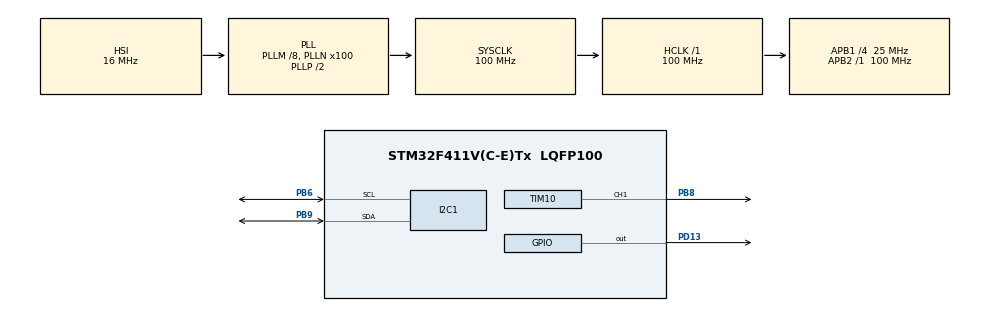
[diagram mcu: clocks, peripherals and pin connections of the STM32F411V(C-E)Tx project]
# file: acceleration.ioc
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I2C1.I2C_Mode=I2C_Fast
Mcu.Family=STM32F4
Mcu.Name=STM32F411V(C-E)Tx
Mcu.Package=LQFP100
NVIC.PriorityGroup=NVIC_PRIORITYGROUP_4
NVIC.TIM1_UP_TIM10_IRQn=true\:0\:0\:false\:false\:true
PB6.Mode=I2C
PB6.Signal=I2C1_SCL
PB8.Signal=S_TIM10_CH1
PB9.Mode=I2C
PB9.Signal=I2C1_SDA
PD13.Signal=GPIO_Output
ProjectManager.HeapSize=0x200
ProjectManager.StackSize=0x400
ProjectManager.TargetToolchain=SW4STM32
RCC.48MHZClocksFreq_Value=50000000
RCC.AHBFreq_Value=100000000
RCC.APB1CLKDivider=RCC_HCLK_DIV4
RCC.APB1Freq_Value=25000000
RCC.APB1TimFreq_Value=50000000
RCC.APB2Freq_Value=100000000
RCC.APB2TimFreq_Value=100000000
RCC.CortexFreq_Value=100000000
RCC.HCLKFreq_Value=100000000
RCC.HSE_VALUE=25000000
RCC.HSI_VALUE=16000000
RCC.LSE_VALUE=32768
RCC.PLLM=8
RCC.PLLN=100
RCC.SYSCLKFreq_VALUE=100000000
RCC.SYSCLKSource=RCC_SYSCLKSOURCE_PLLCLK
RCC.VCOOutputFreq_Value=200000000
SH.S_TIM10_CH1.0=TIM10_CH1,Output Compare1 CH1
TIM10.Period=1000
TIM10.Prescaler=12500
VP_TIM10_VS_ClockSourceINT.Mode=Enable_Timer
board=acceleration

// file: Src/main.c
/**
  ******************************************************************************
  * File Name          : main.c
  * Description        : Main program body
  ******************************************************************************
  *
  * COPYRIGHT(c) 2016 STMicroelectronics
  *
  * Redistribution and use in source and binary forms, with or without modification,
  * are permitted provided that the following conditions are met:
  *   1. Redistributions of source code must retain the above copyright notice,
  *      this list of conditions and the following disclaimer.
  *   2. Redistributions in binary form must reproduce the above copyright notice,
  *      this list of conditions and the following disclaimer in the documentation
  *      and/or other materials provided with the distribution.
  *   3. Neither the name of STMicroelectronics nor the names of its contributors
  *      may be used to endorse or promote products derived from this software
  *      without specific prior written permission.
  *
  * THIS SOFTWARE IS PROVIDED BY THE COPYRIGHT HOLDERS AND CONTRIBUTORS "AS IS"
  * AND ANY EXPRESS OR IMPLIED WARRANTIES, INCLUDING, BUT NOT LIMITED TO, THE
  * IMPLIED WARRANTIES OF MERCHANTABILITY AND FITNESS FOR A PARTICULAR PURPOSE ARE
  * DISCLAIMED. IN NO EVENT SHALL THE COPYRIGHT HOLDER OR CONTRIBUTORS BE LIABLE
  * FOR ANY DIRECT, INDIRECT, INCIDENTAL, SPECIAL, EXEMPLARY, OR CONSEQUENTIAL
  * DAMAGES (INCLUDING, BUT NOT LIMITED TO, PROCUREMENT OF SUBSTITUTE GOODS OR
  * SERVICES; LOSS OF USE, DATA, OR PROFITS; OR BUSINESS INTERRUPTION) HOWEVER
  * CAUSED AND ON ANY THEORY OF LIABILITY, WHETHER IN CONTRACT, STRICT LIABILITY,
  * OR TORT (INCLUDING NEGLIGENCE OR OTHERWISE) ARISING IN ANY WAY OUT OF THE USE
  * OF THIS SOFTWARE, EVEN IF ADVISED OF THE POSSIBILITY OF SUCH DAMAGE.
  *
  ******************************************************************************
  */
#include "main.h"
#include "stm32f4xx_hal.h"

I2C_HandleTypeDef hi2c1;

TIM_HandleTypeDef htim10;

/* USER CODE BEGIN PV */
/* Private variables ---------------------------------------------------------*/
uint16_t acc_dev_addr = 0x19<<1;
uint16_t acc_mem = 0x20;
uint8_t acc_write_message = 0x57;
uint16_t acc_out_x=0x29, acc_out_y=0x2b, acc_out_z=0x2d;

#define res_no 12
static int res_cnt=0;
float res_values[res_no][3];

/* USER CODE END PV */

void SystemClock_Config(void);
void Error_Handler(void);
static void MX_GPIO_Init(void);
static void MX_I2C1_Init(void);
static void MX_TIM10_Init(void);

void HAL_TIM_MspPostInit(TIM_HandleTypeDef *htim);

/* USER CODE BEGIN PFP */
/* Private function prototypes -----------------------------------------------*/
void HAL_TIM_PeriodElapsedCallback(TIM_HandleTypeDef *htim){
	if(res_cnt < res_no){
		HAL_GPIO_TogglePin(GPIOD,GPIO_PIN_13);
		uint8_t buf[2];
		HAL_I2C_Mem_Read(&hi2c1, acc_dev_addr, acc_out_x,1,&buf,2,100);
		res_values[res_cnt][0]=(float)((buf[0]<<8)|buf[1])/16384;
		HAL_I2C_Mem_Read(&hi2c1, acc_dev_addr, acc_out_y,1,&buf,2,100);
		res_values[res_cnt][1]=(float)((buf[0]<<8)|buf[1])/16384;
		HAL_I2C_Mem_Read(&hi2c1, acc_dev_addr, acc_out_z,1,&buf,2,100);
		res_values[res_cnt][2]=(float)((buf[0]<<8)|buf[1])/16384;
		res_cnt++;
		HAL_GPIO_TogglePin(GPIOD,GPIO_PIN_13);
	}
}
/* USER CODE END PFP */

int main(void)
{

  /* MCU Configuration----------------------------------------------------------*/

  /* Reset of all peripherals, Initializes the Flash interface and the Systick. */
  HAL_Init();

  /* Configure the system clock */
  SystemClock_Config();

  /* Initialize all configured peripherals */
  MX_GPIO_Init();
  MX_I2C1_Init();
  MX_TIM10_Init();

  /* USER CODE BEGIN 2 */
  HAL_I2C_Init(&hi2c1);
  HAL_I2C_Mem_Write(&hi2c1,acc_dev_addr,acc_mem, 1,&acc_write_message,1,100);
  HAL_TIM_Base_Start_IT(&htim10);
  /* USER CODE END 2 */

  /* Infinite loop */
  while (1)
  {

  }

}

/** System Clock Configuration
*/
void SystemClock_Config(void)
{

  RCC_OscInitTypeDef RCC_OscInitStruct;
  RCC_ClkInitTypeDef RCC_ClkInitStruct;

    /**Configure the main internal regulator output voltage
    */
  __HAL_RCC_PWR_CLK_ENABLE();

  __HAL_PWR_VOLTAGESCALING_CONFIG(PWR_REGULATOR_VOLTAGE_SCALE1);

    /**Initializes the CPU, AHB and APB busses clocks
    */
  RCC_OscInitStruct.OscillatorType = RCC_OSCILLATORTYPE_HSI;
  RCC_OscInitStruct.HSIState = RCC_HSI_ON;
  RCC_OscInitStruct.HSICalibrationValue = 16;
  RCC_OscInitStruct.PLL.PLLState = RCC_PLL_ON;
  RCC_OscInitStruct.PLL.PLLSource = RCC_PLLSOURCE_HSI;
  RCC_OscInitStruct.PLL.PLLM = 8;
  RCC_OscInitStruct.PLL.PLLN = 100;
  RCC_OscInitStruct.PLL.PLLP = RCC_PLLP_DIV2;
  RCC_OscInitStruct.PLL.PLLQ = 4;
  if (HAL_RCC_OscConfig(&RCC_OscInitStruct) != HAL_OK)
  {
    Error_Handler();
  }

    /**Initializes the CPU, AHB and APB busses clocks
    */
  RCC_ClkInitStruct.ClockType = RCC_CLOCKTYPE_HCLK|RCC_CLOCKTYPE_SYSCLK
                              |RCC_CLOCKTYPE_PCLK1|RCC_CLOCKTYPE_PCLK2;
  RCC_ClkInitStruct.SYSCLKSource = RCC_SYSCLKSOURCE_PLLCLK;
  RCC_ClkInitStruct.AHBCLKDivider = RCC_SYSCLK_DIV1;
  RCC_ClkInitStruct.APB1CLKDivider = RCC_HCLK_DIV4;
  RCC_ClkInitStruct.APB2CLKDivider = RCC_HCLK_DIV1;

  if (HAL_RCC_ClockConfig(&RCC_ClkInitStruct, FLASH_LATENCY_3) != HAL_OK)
  {
    Error_Handler();
  }

    /**Configure the Systick interrupt time
    */
  HAL_SYSTICK_Config(HAL_RCC_GetHCLKFreq()/1000);

    /**Configure the Systick
    */
  HAL_SYSTICK_CLKSourceConfig(SYSTICK_CLKSOURCE_HCLK);

  /* SysTick_IRQn interrupt configuration */
  HAL_NVIC_SetPriority(SysTick_IRQn, 0, 0);
}

/* I2C1 init function */
static void MX_I2C1_Init(void)
{

  hi2c1.Instance = I2C1;
  hi2c1.Init.ClockSpeed = 400000;
  hi2c1.Init.DutyCycle = I2C_DUTYCYCLE_2;
  hi2c1.Init.OwnAddress1 = 0;
  hi2c1.Init.AddressingMode = I2C_ADDRESSINGMODE_7BIT;
  hi2c1.Init.DualAddressMode = I2C_DUALADDRESS_DISABLE;
  hi2c1.Init.OwnAddress2 = 0;
  hi2c1.Init.GeneralCallMode = I2C_GENERALCALL_DISABLE;
  hi2c1.Init.NoStretchMode = I2C_NOSTRETCH_DISABLE;
  if (HAL_I2C_Init(&hi2c1) != HAL_OK)
  {
    Error_Handler();
  }

}

/* TIM10 init function */
static void MX_TIM10_Init(void)
{

  TIM_OC_InitTypeDef sConfigOC;

  htim10.Instance = TIM10;
  htim10.Init.Prescaler = 12500;
  htim10.Init.CounterMode = TIM_COUNTERMODE_UP;
  htim10.Init.Period = 1000;
  htim10.Init.ClockDivision = TIM_CLOCKDIVISION_DIV1;
  if (HAL_TIM_Base_Init(&htim10) != HAL_OK)
  {
    Error_Handler();
  }

  if (HAL_TIM_OC_Init(&htim10) != HAL_OK)
  {
    Error_Handler();
  }

  sConfigOC.OCMode = TIM_OCMODE_ACTIVE;
  sConfigOC.Pulse = 0;
  sConfigOC.OCPolarity = TIM_OCPOLARITY_HIGH;
  sConfigOC.OCFastMode = TIM_OCFAST_DISABLE;
  if (HAL_TIM_OC_ConfigChannel(&htim10, &sConfigOC, TIM_CHANNEL_1) != HAL_OK)
  {
    Error_Handler();
  }

  HAL_TIM_MspPostInit(&htim10);

}

/** Configure pins as
        * Analog
        * Input
        * Output
        * EVENT_OUT
        * EXTI
*/
static void MX_GPIO_Init(void)
{

  GPIO_InitTypeDef GPIO_InitStruct;

  /* GPIO Ports Clock Enable */
  __HAL_RCC_GPIOD_CLK_ENABLE();
  __HAL_RCC_GPIOB_CLK_ENABLE();

  /*Configure GPIO pin Output Level */
  HAL_GPIO_WritePin(GPIOD, GPIO_PIN_13, GPIO_PIN_RESET);

  /*Configure GPIO pin : PD13 */
  GPIO_InitStruct.Pin = GPIO_PIN_13;
  GPIO_InitStruct.Mode = GPIO_MODE_OUTPUT_PP;
  GPIO_InitStruct.Pull = GPIO_NOPULL;
  GPIO_InitStruct.Speed = GPIO_SPEED_FREQ_LOW;
  HAL_GPIO_Init(GPIOD, &GPIO_InitStruct);

}

void Error_Handler(void)
{
  while(1)
  {
  }
}

/************************ (C) COPYRIGHT STMicroelectronics *****END OF FILE****/
